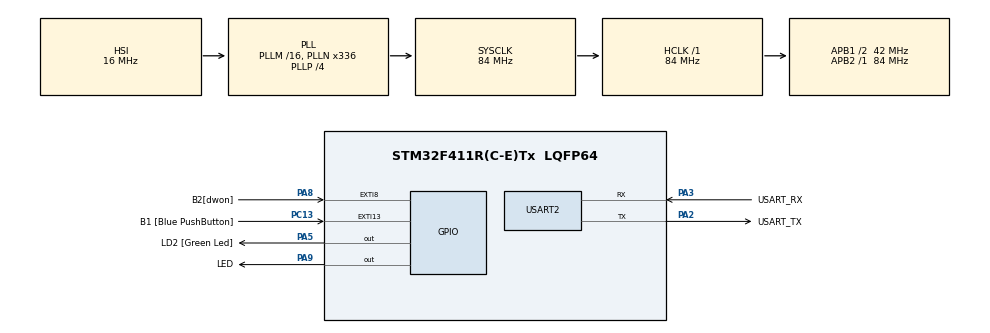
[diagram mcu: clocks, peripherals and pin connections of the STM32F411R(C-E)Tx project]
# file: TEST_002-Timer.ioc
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Mcu.Family=STM32F4
Mcu.Name=STM32F411R(C-E)Tx
Mcu.Package=LQFP64
NVIC.EXTI15_10_IRQn=true\:0\:0\:false\:false\:true\:true\:true\:true
NVIC.EXTI9_5_IRQn=true\:0\:0\:false\:false\:true\:true\:true\:true
NVIC.PriorityGroup=NVIC_PRIORITYGROUP_0
NVIC.TIM2_IRQn=true\:0\:0\:false\:false\:true\:true\:true\:true
NVIC.TIM3_IRQn=true\:0\:0\:false\:false\:true\:true\:true\:true
PA13.GPIO_Label=TMS
PA13.Mode=Serial_Wire
PA13.Signal=SYS_JTMS-SWDIO
PA14.GPIO_Label=TCK
PA14.Mode=Serial_Wire
PA14.Signal=SYS_JTCK-SWCLK
PA2.GPIO_Label=USART_TX
PA2.Mode=Asynchronous
PA2.Signal=USART2_TX
PA3.GPIO_Label=USART_RX
PA3.Mode=Asynchronous
PA3.Signal=USART2_RX
PA5.GPIO_Label=LD2 [Green Led]
PA5.Signal=GPIO_Output
PA8.GPIO_Label=B2[dwon]
PA8.Signal=GPXTI8
PA9.GPIO_Label=LED
PA9.Signal=GPIO_Output
PB3.Signal=SYS_JTDO-SWO
PC13-ANTI_TAMP.GPIO_Label=B1 [Blue PushButton]
PC13-ANTI_TAMP.GPIO_ModeDefaultEXTI=GPIO_MODE_IT_FALLING
PC13-ANTI_TAMP.Signal=GPXTI13
PC14-OSC32_IN.Mode=LSE-External-Oscillator
PC14-OSC32_IN.Signal=RCC_OSC32_IN
PC15-OSC32_OUT.Mode=LSE-External-Oscillator
PC15-OSC32_OUT.Signal=RCC_OSC32_OUT
PH0\ -\ OSC_IN.Mode=HSE-External-Clock-Source
PH0\ -\ OSC_IN.Signal=RCC_OSC_IN
PH1\ -\ OSC_OUT.Mode=HSE-External-Clock-Source
PH1\ -\ OSC_OUT.Signal=RCC_OSC_OUT
ProjectManager.HeapSize=0x200
ProjectManager.StackSize=0x400
ProjectManager.TargetToolchain=STM32CubeIDE
RCC.48MHZClocksFreq_Value=84000000
RCC.AHBFreq_Value=84000000
RCC.APB1CLKDivider=RCC_HCLK_DIV2
RCC.APB1Freq_Value=42000000
RCC.APB1TimFreq_Value=84000000
RCC.APB2Freq_Value=84000000
RCC.APB2TimFreq_Value=84000000
RCC.CortexFreq_Value=84000000
RCC.FLatency-AdvancedSettings=FLASH_LATENCY_2
RCC.HCLKFreq_Value=84000000
RCC.HSE_VALUE=8000000
RCC.HSI_VALUE=16000000
RCC.PLLN=336
RCC.PLLP=RCC_PLLP_DIV4
RCC.SYSCLKFreq_VALUE=84000000
RCC.SYSCLKSource=RCC_SYSCLKSOURCE_PLLCLK
RCC.VCOOutputFreq_Value=336000000
TIM2.Period=5000-1
TIM2.Prescaler=8400-1
TIM3.Period=10000-1
TIM3.Prescaler=8400-1
USART2.VirtualMode=VM_ASYNC
VP_TIM2_VS_ClockSourceINT.Mode=Internal
VP_TIM3_VS_ClockSourceINT.Mode=Internal
board=NUCLEO-F411RE

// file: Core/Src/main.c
/* USER CODE BEGIN Header */
/**
  ******************************************************************************
  * @file           : main.c
  * @brief          : Main program body
  ******************************************************************************
  * @attention
  *
  * Copyright (c) 2024 STMicroelectronics.
  * All rights reserved.
  *
  * This software is licensed under terms that can be found in the LICENSE file
  * in the root directory of this software component.
  * If no LICENSE file comes with this software, it is provided AS-IS.
  *
  ******************************************************************************
  */
/* USER CODE END Header */
#include "main.h"

TIM_HandleTypeDef htim2;
TIM_HandleTypeDef htim3;

UART_HandleTypeDef huart2;

void SystemClock_Config(void);
static void MX_GPIO_Init(void);
static void MX_USART2_UART_Init(void);
static void MX_TIM3_Init(void);
static void MX_TIM2_Init(void);

/* USER CODE BEGIN 0 */
void HAL_TIM_PeriodElapsedCallback(TIM_HandleTypeDef *htim)
{
	if(htim == &htim3)
	{
	HAL_GPIO_TogglePin(LD2_GPIO_Port, LD2_Pin);
	}
	else if(htim == &htim2)
	{
		HAL_GPIO_TogglePin(LED_GPIO_Port, LED_Pin);
	}

}
void HAL_GPIO_EXTI_Callback(uint16_t GPIO_Pin)	//External Interrupt IST
{
		switch(GPIO_Pin) {
			case B1_Pin:
				htim3.Instance->ARR -=1000;
			break;

			case B2_Pin:
				htim3.Instance->ARR +=1000;
			break;
		}

}
/* USER CODE END 0 */

int main(void)
{

  /* MCU Configuration--------------------------------------------------------*/

  /* Reset of all peripherals, Initializes the Flash interface and the Systick. */
  HAL_Init();

  /* Configure the system clock */
  SystemClock_Config();

  /* Initialize all configured peripherals */
  MX_GPIO_Init();
  MX_USART2_UART_Init();
  MX_TIM3_Init();
  MX_TIM2_Init();
  /* USER CODE BEGIN 2 */
  	  HAL_TIM_Base_Start_IT(&htim3);	//&handletimer3 주소�????? �??????��???��?�� timer start
  	  HAL_TIM_Base_Start_IT(&htim2);
  /* USER CODE END 2 */

  /* Infinite loop */
  while (1)
  {

    /* USER CODE BEGIN 3 */
	  //for(int i = 1; i <20; i++)
	  //{
	  //htim3.Instance->ARR = i * 450;		//?��?��?�� ???��?���????? ?��?��?��?�� instance ->  ?���??????��?��.�????? ?��?��
	  //HAL_Delay(500);
	  // }

  }
  /* USER CODE END 3 */
}

void SystemClock_Config(void)
{
  RCC_OscInitTypeDef RCC_OscInitStruct = {0};
  RCC_ClkInitTypeDef RCC_ClkInitStruct = {0};

  /** Configure the main internal regulator output voltage
  */
  __HAL_RCC_PWR_CLK_ENABLE();
  __HAL_PWR_VOLTAGESCALING_CONFIG(PWR_REGULATOR_VOLTAGE_SCALE1);

  /** Initializes the RCC Oscillators according to the specified parameters
  * in the RCC_OscInitTypeDef structure.
  */
  RCC_OscInitStruct.OscillatorType = RCC_OSCILLATORTYPE_HSI;
  RCC_OscInitStruct.HSIState = RCC_HSI_ON;
  RCC_OscInitStruct.HSICalibrationValue = RCC_HSICALIBRATION_DEFAULT;
  RCC_OscInitStruct.PLL.PLLState = RCC_PLL_ON;
  RCC_OscInitStruct.PLL.PLLSource = RCC_PLLSOURCE_HSI;
  RCC_OscInitStruct.PLL.PLLM = 16;
  RCC_OscInitStruct.PLL.PLLN = 336;
  RCC_OscInitStruct.PLL.PLLP = RCC_PLLP_DIV4;
  RCC_OscInitStruct.PLL.PLLQ = 4;
  if (HAL_RCC_OscConfig(&RCC_OscInitStruct) != HAL_OK)
  {
    Error_Handler();
  }

  /** Initializes the CPU, AHB and APB buses clocks
  */
  RCC_ClkInitStruct.ClockType = RCC_CLOCKTYPE_HCLK|RCC_CLOCKTYPE_SYSCLK
                              |RCC_CLOCKTYPE_PCLK1|RCC_CLOCKTYPE_PCLK2;
  RCC_ClkInitStruct.SYSCLKSource = RCC_SYSCLKSOURCE_PLLCLK;
  RCC_ClkInitStruct.AHBCLKDivider = RCC_SYSCLK_DIV1;
  RCC_ClkInitStruct.APB1CLKDivider = RCC_HCLK_DIV2;
  RCC_ClkInitStruct.APB2CLKDivider = RCC_HCLK_DIV1;

  if (HAL_RCC_ClockConfig(&RCC_ClkInitStruct, FLASH_LATENCY_2) != HAL_OK)
  {
    Error_Handler();
  }
}

static void MX_TIM2_Init(void)
{

  TIM_ClockConfigTypeDef sClockSourceConfig = {0};
  TIM_MasterConfigTypeDef sMasterConfig = {0};

  htim2.Instance = TIM2;
  htim2.Init.Prescaler = 8400-1;
  htim2.Init.CounterMode = TIM_COUNTERMODE_UP;
  htim2.Init.Period = 5000-1;
  htim2.Init.ClockDivision = TIM_CLOCKDIVISION_DIV1;
  htim2.Init.AutoReloadPreload = TIM_AUTORELOAD_PRELOAD_DISABLE;
  if (HAL_TIM_Base_Init(&htim2) != HAL_OK)
  {
    Error_Handler();
  }
  sClockSourceConfig.ClockSource = TIM_CLOCKSOURCE_INTERNAL;
  if (HAL_TIM_ConfigClockSource(&htim2, &sClockSourceConfig) != HAL_OK)
  {
    Error_Handler();
  }
  sMasterConfig.MasterOutputTrigger = TIM_TRGO_RESET;
  sMasterConfig.MasterSlaveMode = TIM_MASTERSLAVEMODE_DISABLE;
  if (HAL_TIMEx_MasterConfigSynchronization(&htim2, &sMasterConfig) != HAL_OK)
  {
    Error_Handler();
  }

}

static void MX_TIM3_Init(void)
{

  TIM_ClockConfigTypeDef sClockSourceConfig = {0};
  TIM_MasterConfigTypeDef sMasterConfig = {0};

  htim3.Instance = TIM3;
  htim3.Init.Prescaler = 8400-1;
  htim3.Init.CounterMode = TIM_COUNTERMODE_UP;
  htim3.Init.Period = 10000-1;
  htim3.Init.ClockDivision = TIM_CLOCKDIVISION_DIV1;
  htim3.Init.AutoReloadPreload = TIM_AUTORELOAD_PRELOAD_DISABLE;
  if (HAL_TIM_Base_Init(&htim3) != HAL_OK)
  {
    Error_Handler();
  }
  sClockSourceConfig.ClockSource = TIM_CLOCKSOURCE_INTERNAL;
  if (HAL_TIM_ConfigClockSource(&htim3, &sClockSourceConfig) != HAL_OK)
  {
    Error_Handler();
  }
  sMasterConfig.MasterOutputTrigger = TIM_TRGO_RESET;
  sMasterConfig.MasterSlaveMode = TIM_MASTERSLAVEMODE_DISABLE;
  if (HAL_TIMEx_MasterConfigSynchronization(&htim3, &sMasterConfig) != HAL_OK)
  {
    Error_Handler();
  }

}

static void MX_USART2_UART_Init(void)
{

  huart2.Instance = USART2;
  huart2.Init.BaudRate = 115200;
  huart2.Init.WordLength = UART_WORDLENGTH_8B;
  huart2.Init.StopBits = UART_STOPBITS_1;
  huart2.Init.Parity = UART_PARITY_NONE;
  huart2.Init.Mode = UART_MODE_TX_RX;
  huart2.Init.HwFlowCtl = UART_HWCONTROL_NONE;
  huart2.Init.OverSampling = UART_OVERSAMPLING_16;
  if (HAL_UART_Init(&huart2) != HAL_OK)
  {
    Error_Handler();
  }

}

static void MX_GPIO_Init(void)
{
  GPIO_InitTypeDef GPIO_InitStruct = {0};

  /* GPIO Ports Clock Enable */
  __HAL_RCC_GPIOC_CLK_ENABLE();
  __HAL_RCC_GPIOH_CLK_ENABLE();
  __HAL_RCC_GPIOA_CLK_ENABLE();
  __HAL_RCC_GPIOB_CLK_ENABLE();

  /*Configure GPIO pin Output Level */
  HAL_GPIO_WritePin(GPIOA, LD2_Pin|LED_Pin, GPIO_PIN_RESET);

  /*Configure GPIO pin : B1_Pin */
  GPIO_InitStruct.Pin = B1_Pin;
  GPIO_InitStruct.Mode = GPIO_MODE_IT_FALLING;
  GPIO_InitStruct.Pull = GPIO_NOPULL;
  HAL_GPIO_Init(B1_GPIO_Port, &GPIO_InitStruct);

  /*Configure GPIO pins : LD2_Pin LED_Pin */
  GPIO_InitStruct.Pin = LD2_Pin|LED_Pin;
  GPIO_InitStruct.Mode = GPIO_MODE_OUTPUT_PP;
  GPIO_InitStruct.Pull = GPIO_NOPULL;
  GPIO_InitStruct.Speed = GPIO_SPEED_FREQ_LOW;
  HAL_GPIO_Init(GPIOA, &GPIO_InitStruct);

  /*Configure GPIO pin : B2_Pin */
  GPIO_InitStruct.Pin = B2_Pin;
  GPIO_InitStruct.Mode = GPIO_MODE_IT_RISING;
  GPIO_InitStruct.Pull = GPIO_NOPULL;
  HAL_GPIO_Init(B2_GPIO_Port, &GPIO_InitStruct);

  /* EXTI interrupt init*/
  HAL_NVIC_SetPriority(EXTI9_5_IRQn, 0, 0);
  HAL_NVIC_EnableIRQ(EXTI9_5_IRQn);

  HAL_NVIC_SetPriority(EXTI15_10_IRQn, 0, 0);
  HAL_NVIC_EnableIRQ(EXTI15_10_IRQn);

}

void Error_Handler(void)
{
  __disable_irq();
  while (1)
  {
  }
}
